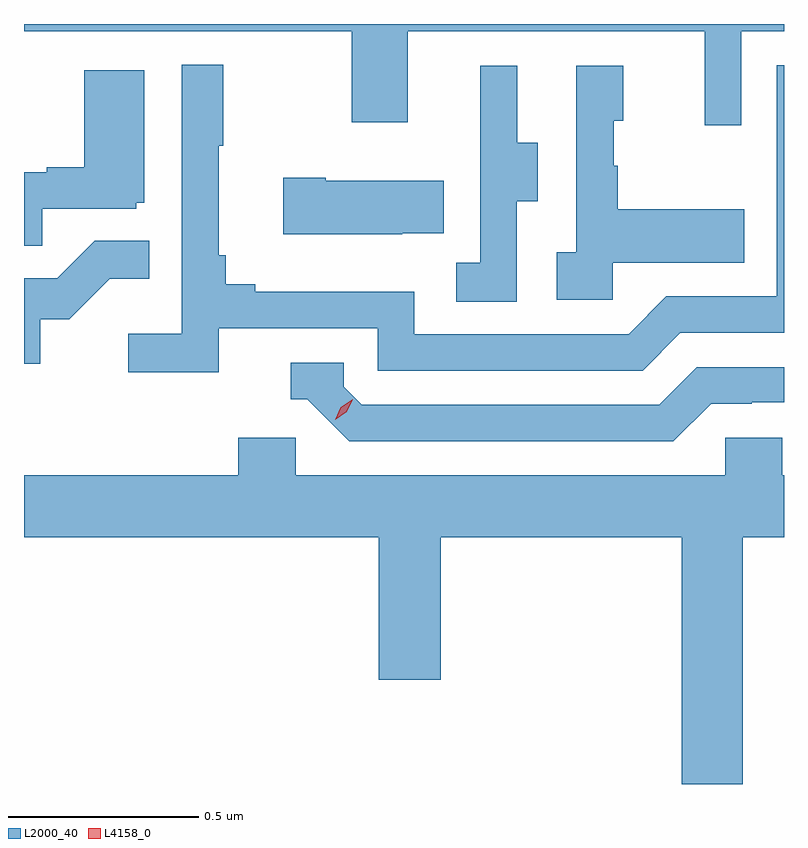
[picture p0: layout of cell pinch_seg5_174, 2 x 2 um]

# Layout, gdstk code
import gdstk
lib = gdstk.Library(unit=1e-6, precision=1e-09)
def P(c, l, *ps):  # polygons
    for p in ps: c.add(gdstk.Polygon(p, *l))
L2000_40 = (2000, 40)
L4158_0 = (4158, 0)

pinch_seg5_174 = lib.new_cell('pinch_seg5_174')
P(pinch_seg5_174, L2000_40, [(1136.991,878.072),(1137.103,878.072),(1137.103,878.091),(1135.103,878.091),(1135.103,878.072),(1135.966,878.072),(1135.966,877.833),(1136.113,877.833),(1136.113,878.072),(1136.894,878.072),(1136.894,877.824),(1136.991,877.824)],
  [(1135.616,877.29),(1136.034,877.29),(1136.034,877.179),(1136.731,877.179),(1136.83,877.278),(1137.103,877.278),(1137.103,877.983),(1137.084,877.983),(1137.084,877.374),(1136.793,877.374),(1136.694,877.275),(1136.13,877.275),(1136.13,877.387),(1135.711,877.387),(1135.711,877.406),(1135.634,877.406),(1135.634,877.483),(1135.615,877.483),(1135.615,877.771),(1135.627,877.771),(1135.627,877.984),(1135.518,877.984),(1135.518,877.276),(1135.377,877.276),(1135.377,877.174),(1135.616,877.174)],
  [(1136.4,877.624),(1136.455,877.624),(1136.455,877.779),(1136.401,877.779),(1136.401,877.981),(1136.303,877.981),(1136.303,877.767),(1136.304,877.767),(1136.304,877.463),(1136.241,877.463),(1136.241,877.36),(1136.4,877.36)],
  [(1136.652,877.463),(1136.999,877.463),(1136.999,877.603),(1136.665,877.603),(1136.665,877.718),(1136.655,877.718),(1136.655,877.836),(1136.68,877.836),(1136.68,877.981),(1136.556,877.981),(1136.556,877.49),(1136.505,877.49),(1136.505,877.365),(1136.652,877.365)],
  [(1135.151,877.605),(1135.398,877.605),(1135.398,877.62),(1135.42,877.62),(1135.42,877.969),(1135.262,877.969),(1135.262,877.714),(1135.163,877.714),(1135.163,877.701),(1135.103,877.701),(1135.103,877.507),(1135.151,877.507)],
  [(1136.099,877.541),(1136.207,877.541),(1136.207,877.678),(1135.897,877.678),(1135.897,877.686),(1135.785,877.686),(1135.785,877.538),(1136.099,877.538)],
  [(1135.146,877.314),(1135.222,877.314),(1135.329,877.421),(1135.433,877.421),(1135.433,877.52),(1135.289,877.52),(1135.191,877.422),(1135.103,877.422),(1135.103,877.197),(1135.146,877.197)],
  [(1136.911,877.092),(1137.018,877.092),(1137.018,877.095),(1137.103,877.095),(1137.103,877.188),(1136.874,877.188),(1136.775,877.089),(1135.992,877.089),(1135.944,877.137),(1135.944,877.2),(1135.805,877.2),(1135.805,877.104),(1135.848,877.104),(1135.959,876.993),(1136.812,876.993)],
  [(1136.994,876.74),(1137.103,876.74),(1137.103,876.904),(1137.099,876.904),(1137.099,877.002),(1136.949,877.002),(1136.949,876.904),(1135.818,876.904),(1135.818,877.002),(1135.667,877.002),(1135.667,876.904),(1135.103,876.904),(1135.103,876.74),(1136.036,876.74),(1136.036,876.366),(1136.2,876.366),(1136.2,876.74),(1136.834,876.74),(1136.834,876.091),(1136.994,876.091)])
P(pinch_seg5_174, L4158_0, [(1135.922,877.05),(1135.922,877.05),(1135.937,877.083),(1135.968,877.103),(1135.968,877.103),(1135.968,877.103),(1135.952,877.07),(1135.922,877.05)])

lib.write_gds('pinch_seg5_174.gds')
